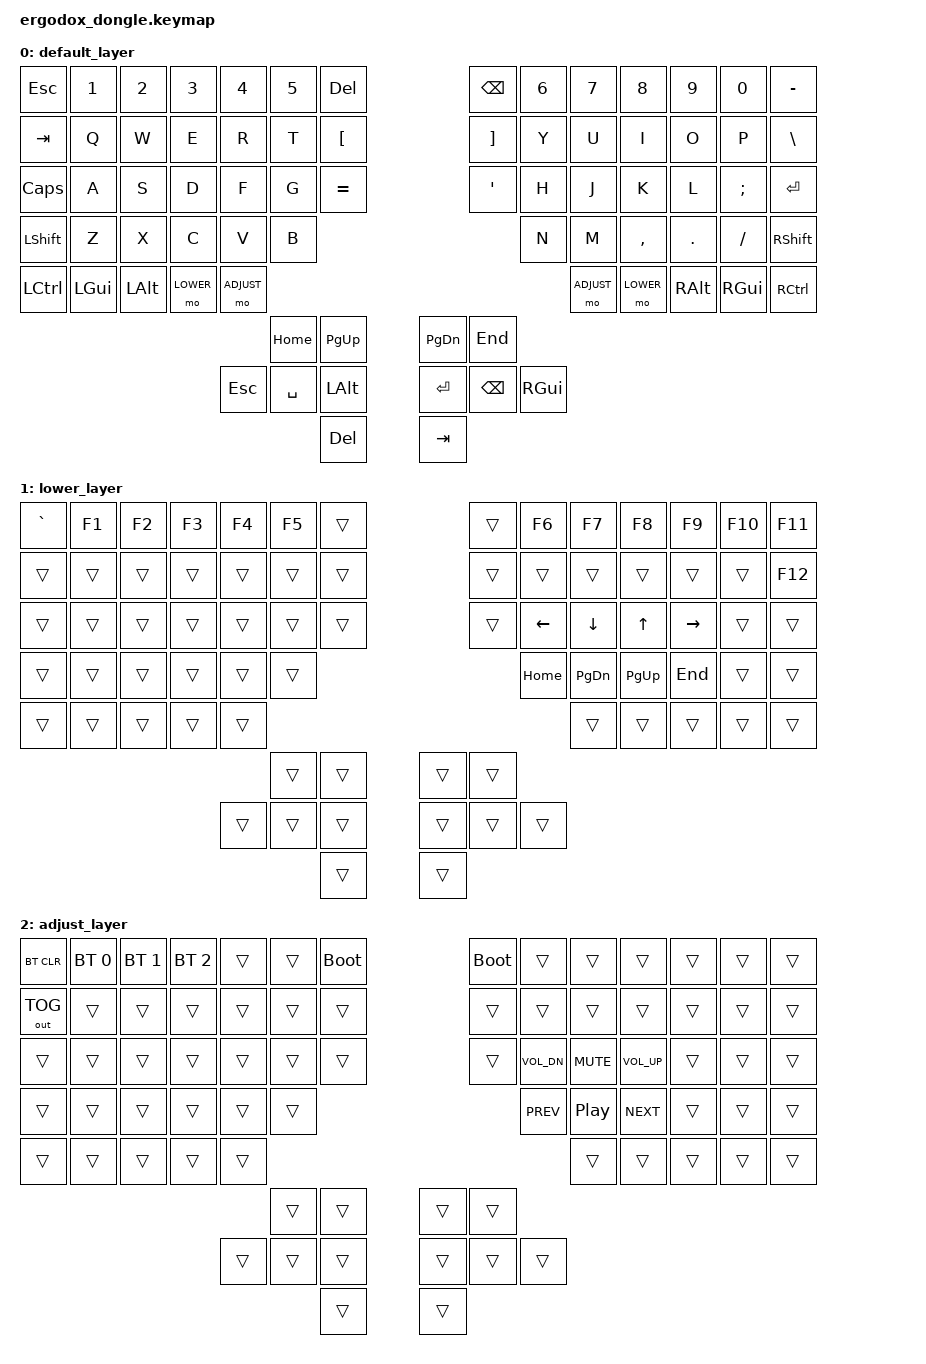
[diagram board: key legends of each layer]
#include <behaviors.dtsi>
#include <dt-bindings/zmk/keys.h>
#include <dt-bindings/zmk/bt.h>
#include <dt-bindings/zmk/outputs.h>

#define BASE 0
#define LOWER 1
#define ADJUST 2

/ {
    combos {
        compatible = "zmk,combos";
        combo_boot_left {
            timeout-ms = <100>;
            key-positions = <0 6>; // Esc + Del (крайние верхние левой руки)
            bindings = <&bootloader>;
        };
        combo_boot_right {
            timeout-ms = <100>;
            key-positions = <7 13>; // Backspace + Minus (крайние верхние правой руки)
            bindings = <&bootloader>;
        };
    };

    keymap {
        compatible = "zmk,keymap";

        default_layer {
            bindings = <
            // ---------------------------------------------------------------------------------------------------------------------------------
            // |  ESC  |  1  |  2  |  3  |  4  |  5  | DEL   |                 | BSPC  |  6  |  7  |  8  |  9  |  0  |   -   |
            // |  TAB  |  Q  |  W  |  E  |  R  |  T  |  [    |                 |   ]   |  Y  |  U  |  I  |  O  |  P  |   \   |
            // |  CAPS |  A  |  S  |  D  |  F  |  G  |  =    |                 |   '   |  H  |  J  |  K  |  L  |  ;  | ENTER |
            // | SHIFT |  Z  |  X  |  C  |  V  |  B  |                         |   N   |  M  |  ,  |  .  |  /  | SHIFT |
            // | LCTRL | LGUI| LALT|MO(1)|MO(2)|                                       |MO(2)|MO(1)| RALT| RGUI| RCTRL |
            //                                       | HOME | PGUP |     | PGDN | END  |
            //                                | ESC  | SPACE| LALT |     | RET  | BSPC | RGUI |
            //                                              | DEL  |     | TAB  |
            &kp ESC   &kp N1   &kp N2   &kp N3   &kp N4   &kp N5   &kp DEL                      &kp BSPC  &kp N6   &kp N7   &kp N8    &kp N9   &kp N0   &kp MINUS
            &kp TAB   &kp Q    &kp W    &kp E    &kp R    &kp T    &kp LBKT                     &kp RBKT  &kp Y    &kp U    &kp I     &kp O    &kp P    &kp BSLH
            &kp CLCK  &kp A    &kp S    &kp D    &kp F    &kp G    &kp EQUAL                    &kp SQT   &kp H    &kp J    &kp K     &kp L    &kp SEMI &kp RET
            &kp LSHFT &kp Z    &kp X    &kp C    &kp V    &kp B                                           &kp N    &kp M    &kp COMMA &kp DOT  &kp FSLH &kp RSHFT
            &kp LCTRL &kp LGUI &kp LALT &mo LOWER &mo ADJUST                                                   &mo ADJUST &mo LOWER &kp RALT &kp RGUI &kp RCTRL
                                                          &kp HOME  &kp PG_UP             &kp PG_DN &kp END
                                                &kp ESC   &kp SPACE &kp LALT              &kp RET   &kp BSPC  &kp RGUI
                                                                    &kp DEL               &kp TAB
            >;
        };

        lower_layer {
            bindings = <
            // ---------------------------------------------------------------------------------------------------------------------------------
            // |   `   |  F1 |  F2 |  F3 |  F4 |  F5 |       |                 |       |  F6 |  F7 |  F8 |  F9 | F10 |  F11  |
            // |       |     |     |     |     |     |       |                 |       |     |     |     |     |     |  F12  |
            // |       |     |     |     |     |     |       |                 |       | LEFT| DOWN|  UP |RIGHT|     |       |
            // |       |     |     |     |     |     |                         |       | HOME| PGDN| PGUP| END |     |       |
            // |       |     |     |     |     |                                       |     |     |     |     |     |
            //                                       |      |      |     |      |      |
            //                                |      |      |      |     |      |      |      |
            //                                              |      |     |      |
            &kp GRAVE &kp F1 &kp F2 &kp F3 &kp F4 &kp F5 &trans                             &trans &kp F6   &kp F7   &kp F8   &kp F9    &kp F10 &kp F11
            &trans    &trans &trans &trans &trans &trans &trans                             &trans &trans   &trans   &trans   &trans    &trans  &kp F12
            &trans    &trans &trans &trans &trans &trans &trans                             &trans &kp LEFT &kp DOWN &kp UP   &kp RIGHT &trans  &trans
            &trans    &trans &trans &trans &trans &trans                                           &kp HOME &kp PG_DN &kp PG_UP &kp END &trans &trans
            &trans    &trans &trans &trans &trans                                                  &trans   &trans   &trans   &trans    &trans
                                                  &trans &trans                     &trans &trans
                                           &trans &trans &trans                     &trans &trans &trans
                                                         &trans                     &trans
            >;
        };

        adjust_layer {
            bindings = <
            // ---------------------------------------------------------------------------------------------------------------------------------
            // |BT_CLR | BT1 | BT2 | BT3 |     |     |BOOTL  |                 |BOOTL  |     |     |     |     |     |       |
            // |OUT_TOG|     |     |     |     |     |       |                 |       |     |     |     |     |     |       |
            // |       |     |     |     |     |     |       |                 |       |VOL- |MUTE |VOL+ |     |     |       |
            // |       |     |     |     |     |     |                         |       |PREV |PLAY |NEXT |     |     |       |
            // |       |     |     |     |     |                                       |     |     |     |     |     |
            //                                       |      |      |     |      |      |
            //                                |      |      |      |     |      |      |      |
            //                                              |      |     |      |
            &bt BT_CLR   &bt BT_SEL 0 &bt BT_SEL 1 &bt BT_SEL 2 &trans &trans &bootloader   &bootloader &trans       &trans       &trans       &trans &trans &trans
            &out OUT_TOG &trans       &trans       &trans       &trans &trans &trans        &trans      &trans       &trans       &trans       &trans &trans &trans
            &trans       &trans       &trans       &trans       &trans &trans &trans        &trans      &kp C_VOL_DN &kp C_MUTE   &kp C_VOL_UP &trans &trans &trans
            &trans       &trans       &trans       &trans       &trans &trans                           &kp C_PREV   &kp C_PP     &kp C_NEXT   &trans &trans &trans
            &trans       &trans       &trans       &trans       &trans                                  &trans       &trans       &trans       &trans &trans
                                                                &trans &trans        &trans &trans
                                                         &trans &trans &trans        &trans &trans &trans
                                                                       &trans        &trans
            >;
        };
    };
};
